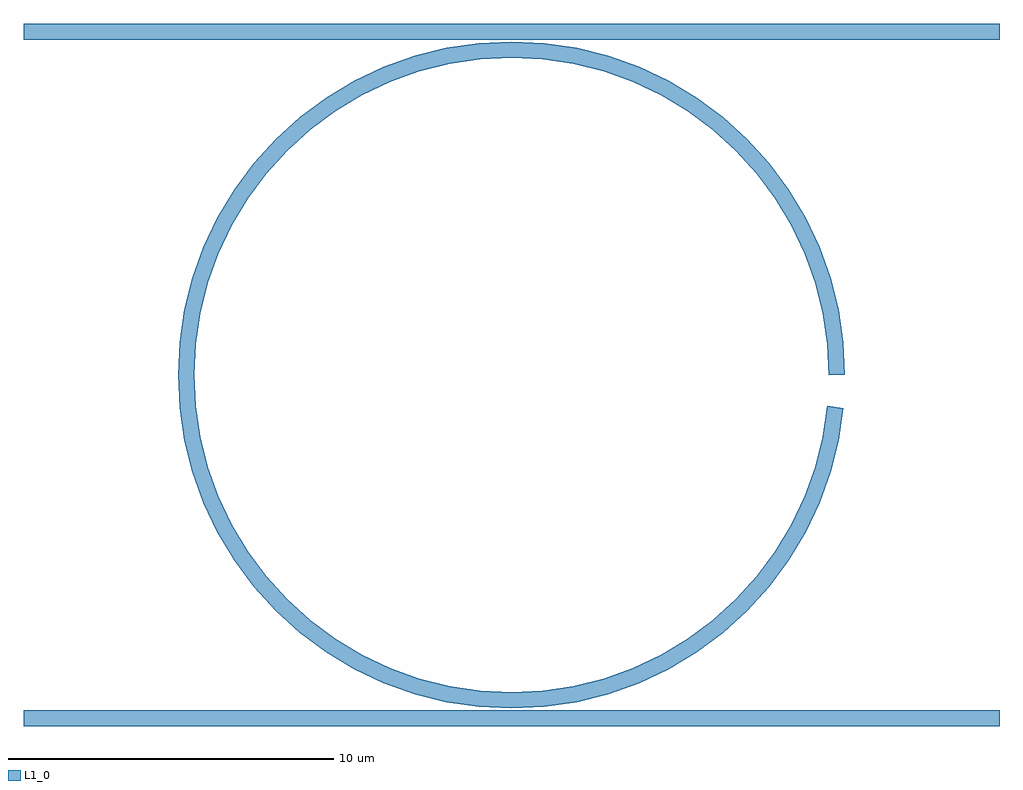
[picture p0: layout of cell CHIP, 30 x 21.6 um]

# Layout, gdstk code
import gdstk
lib = gdstk.Library(unit=1e-6, precision=1e-09)
L1_0 = (1, 0)

chip = lib.new_cell('CHIP')
chip.add(gdstk.FlexPath([(10,0),(9.952,0.98),(9.808,1.951),(9.569,2.903),(9.239,3.827),(8.819,4.714),(8.315,5.556),(7.73,6.344),(7.071,7.071),(6.344,7.73),(5.556,8.315),(4.714,8.819),(3.827,9.239),(2.903,9.569),(1.951,9.808),(0.98,9.952),(0,10),(-0.98,9.952),(-1.951,9.808),(-2.903,9.569),(-3.827,9.239),(-4.714,8.819),(-5.556,8.315),(-6.344,7.73),(-7.071,7.071),(-7.73,6.344),(-8.315,5.556),(-8.819,4.714),(-9.239,3.827),(-9.569,2.903),(-9.808,1.951),(-9.952,0.98),(-10,0),(-9.952,-0.98),(-9.808,-1.951),(-9.569,-2.903),(-9.239,-3.827),(-8.819,-4.714),(-8.315,-5.556),(-7.73,-6.344),(-7.071,-7.071),(-6.344,-7.73),(-5.556,-8.315),(-4.714,-8.819),(-3.827,-9.239),(-2.903,-9.569),(-1.951,-9.808),(-0.98,-9.952),(0,-10),(0.98,-9.952),(1.951,-9.808),(2.903,-9.569),(3.827,-9.239),(4.714,-8.819),(5.556,-8.315),(6.344,-7.73),(7.071,-7.071),(7.73,-6.344),(8.315,-5.556),(8.819,-4.714),(9.239,-3.827),(9.569,-2.903),(9.808,-1.951),(9.952,-0.98)], 0.5, ends="flush", simple_path=True, layer=1, datatype=0))  # L1_0
chip.add(gdstk.FlexPath([(-15,-10.55),(15,-10.55)], 0.5, ends="flush", simple_path=True, layer=1, datatype=0))  # L1_0
chip.add(gdstk.FlexPath([(-15,10.55),(15,10.55)], 0.5, ends="flush", simple_path=True, layer=1, datatype=0))  # L1_0

lib.write_gds('CHIP.gds')
